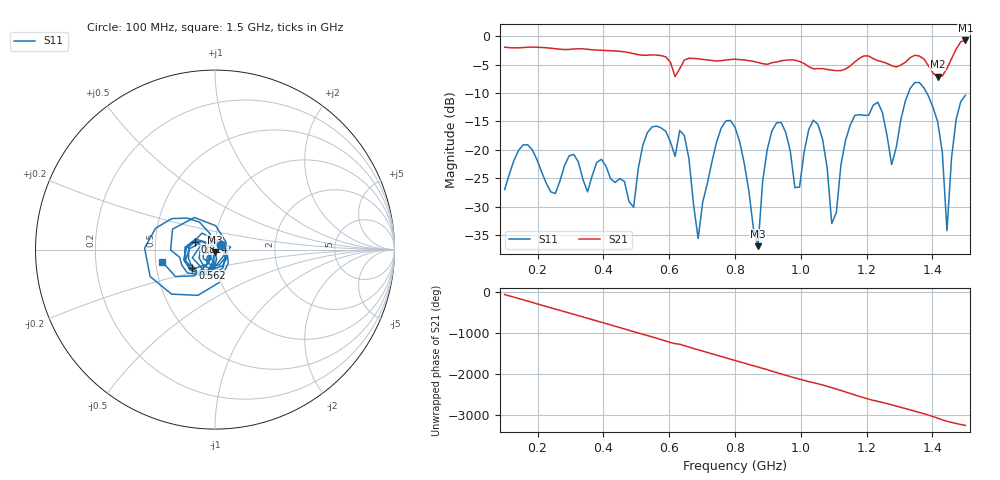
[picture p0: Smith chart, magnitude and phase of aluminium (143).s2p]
! NanoVNA-App
! Date: 2025-09-25 14:56:23
! Start: 100MHz Stop: 1,5GHz Points: 101
! S-Parameter data: F S11 S21 S12 S22
# Hz S RI R 50
!  Frequency  S11_Real  S11_Imag  S21_Real  S21_Imag  S12_Real  S12_Imag  S22_Real  S22_Imag
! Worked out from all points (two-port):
!   101 points, 100 MHz to 1.5 GHz, reference 50 ohm
!   highest |S21| = -0.72 dB at 1.5 GHz (marker M1); lowest = -7.1 dB at 1.416 GHz (marker M2)
!   |S21| within 3 dB of the highest: start of sweep to 591.3 MHz; 1.46 GHz to end of sweep (the widest 2 of 4)
!   lowest |S11| = -37.0 dB at 870 MHz (marker M3), VSWR 1.03, Z = 49.9 - j1.41 ohm
!   |S11| at or under -10 dB: start of sweep to 1.327 GHz; 1.383 GHz to end of sweep
!   S12 and S22 are empty: the file has one direction only
!   S11 on the Smith chart (normalised r, x): 100 MHz: 1.07, +0.06; 562 MHz: 0.76, -0.16; 814 MHz: 0.80, +0.07; 1.5 GHz: 0.54, -0.08
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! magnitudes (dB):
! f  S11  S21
! 100 MHz  -27.0  -1.9
! 338 MHz  -25.2  -2.2
! 492 MHz  -30.1  -3.1
! 562 MHz  -15.8  -3.3
! 576 MHz  -16.1  -3.4
! 646 MHz  -17.5  -4.2
! 688 MHz  -35.6  -3.9
! 800 MHz  -16.0  -4.0
! 814 MHz  -18.5  -4.1
! 870 MHz  -37.0  -4.6
! 912 MHz  -16.7  -4.6
! 996 MHz  -26.6  -4.4
! 1.038 GHz  -14.8  -5.7
! 1.094 GHz  -33.0  -5.9
! 1.164 GHz  -13.9  -4.5
! 1.234 GHz  -11.6  -4.3
! 1.276 GHz  -22.6  -5.2
! 1.346 GHz  -8.2  -3.3
! 1.416 GHz  -15.1  -7.1
! 1.444 GHz  -34.2  -5.7
! 1.472 GHz  -14.6  -2.3
! 1.5 GHz  -10.4  -0.7
